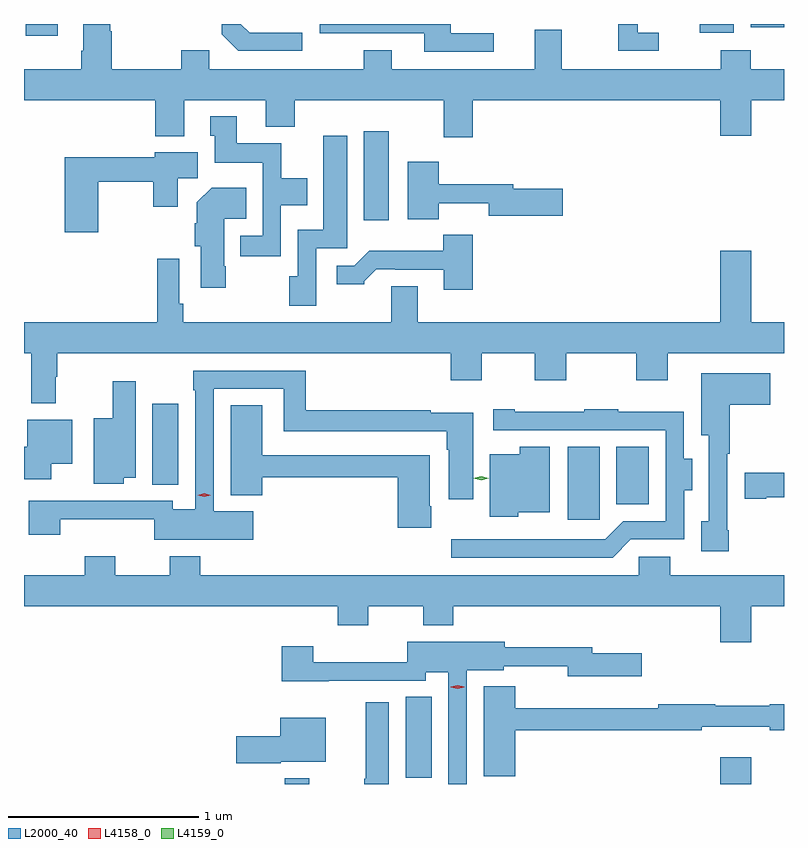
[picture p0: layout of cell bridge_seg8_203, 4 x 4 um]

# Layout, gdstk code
import gdstk
lib = gdstk.Library(unit=1e-6, precision=1e-09)
def R(c, l, rs):  # rectangles x0, y0, x1, y1
    for r in rs: c.add(gdstk.rectangle(r[:2], r[2:], *l))
def P(c, l, *ps):  # polygons
    for p in ps: c.add(gdstk.Polygon(p, *l))
L2000_40 = (2000, 40)
L4158_0 = (4158, 0)
L4159_0 = (4159, 0)

bridge_seg8_203 = lib.new_cell('bridge_seg8_203')
R(bridge_seg8_203, L2000_40, [(210.668,1100.913,210.796,1100.944), (212.96,1100.913,213.124,1101.055), (211.304,1100.946,211.441,1101.371), (212.159,1102.305,212.326,1102.687), (212.414,1102.385,212.584,1102.687), (209.972,1102.489,210.109,1102.915), (211.085,1103.88,211.216,1104.349), (209.306,1104.852,209.473,1104.913), (212.852,1104.866,213.031,1104.913), (213.12,1104.895,213.296,1104.913)])
P(bridge_seg8_203, L2000_40, [(210.76,1104.867),(210.483,1104.867),(210.437,1104.913),(210.336,1104.913),(210.336,1104.858),(210.423,1104.771),(210.76,1104.771)],
  [(211.658,1104.512),(212.96,1104.512),(212.96,1104.324),(213.124,1104.324),(213.124,1104.512),(213.296,1104.512),(213.296,1104.676),(213.122,1104.676),(213.122,1104.775),(212.962,1104.775),(212.962,1104.676),(212.125,1104.676),(212.125,1104.884),(211.985,1104.884),(211.985,1104.676),(211.231,1104.676),(211.231,1104.775),(211.084,1104.775),(211.084,1104.676),(210.27,1104.676),(210.27,1104.775),(210.124,1104.775),(210.124,1104.676),(209.757,1104.676),(209.757,1104.875),(209.749,1104.875),(209.749,1104.913),(209.609,1104.913),(209.609,1104.772),(209.597,1104.772),(209.597,1104.676),(209.296,1104.676),(209.296,1104.512),(209.987,1104.512),(209.987,1104.323),(210.139,1104.323),(210.139,1104.512),(210.569,1104.512),(210.569,1104.371),(210.722,1104.371),(210.722,1104.512),(211.505,1104.512),(211.505,1104.318),(211.658,1104.318)],
  [(211.768,1104.864),(211.543,1104.864),(211.543,1104.913),(210.852,1104.913),(210.852,1104.864),(211.403,1104.864),(211.403,1104.768),(211.768,1104.768)],
  [(212.638,1104.867),(212.527,1104.867),(212.527,1104.913),(212.423,1104.913),(212.423,1104.771),(212.638,1104.771)],
  [(210.648,1103.96),(210.787,1103.96),(210.787,1104.1),(210.651,1104.1),(210.651,1104.286),(210.415,1104.286),(210.415,1104.427),(210.275,1104.427),(210.275,1104.324),(210.299,1104.324),(210.299,1104.182),(210.552,1104.182),(210.552,1103.799),(210.435,1103.799),(210.435,1103.691),(210.648,1103.691)],
  [(210.834,1103.733),(210.997,1103.733),(210.997,1104.325),(210.872,1104.325),(210.872,1103.83),(210.738,1103.83),(210.738,1103.586),(210.691,1103.586),(210.691,1103.43),(210.834,1103.43)],
  [(209.688,1104.082),(209.977,1104.082),(209.977,1103.952),(210.106,1103.952),(210.106,1104.1),(210.211,1104.1),(210.211,1104.238),(209.984,1104.238),(209.984,1104.211),(209.51,1104.211),(209.51,1103.817),(209.688,1103.817)],
  [(211.478,1103.969),(211.742,1103.969),(211.742,1103.903),(212.131,1103.903),(212.131,1104.045),(211.87,1104.045),(211.87,1104.069),(211.48,1104.069),(211.48,1104.187),(211.316,1104.187),(211.316,1103.885),(211.478,1103.885)],
  [(210.357,1103.638),(210.349,1103.638),(210.349,1103.888),(210.467,1103.888),(210.467,1104.052),(210.284,1104.052),(210.206,1103.974),(210.206,1103.864),(210.194,1103.864),(210.194,1103.742),(210.227,1103.742),(210.227,1103.526),(210.357,1103.526)],
  [(211.658,1103.803),(211.503,1103.803),(211.503,1103.719),(211.114,1103.719),(211.035,1103.64),(210.942,1103.64),(210.942,1103.543),(211.086,1103.543),(211.086,1103.558),(211.15,1103.622),(211.249,1103.622),(211.249,1103.619),(211.505,1103.619),(211.505,1103.514),(211.658,1103.514)],
  [(209.464,1103.057),(209.471,1103.057),(209.471,1103.18),(211.541,1103.18),(211.541,1103.037),(211.705,1103.037),(211.705,1103.18),(211.985,1103.18),(211.985,1103.037),(212.149,1103.037),(212.149,1103.18),(212.519,1103.18),(212.519,1103.037),(212.683,1103.037),(212.683,1103.18),(213.296,1103.18),(213.296,1103.344),(213.124,1103.344),(213.124,1103.719),(212.96,1103.719),(212.96,1103.344),(211.369,1103.344),(211.369,1103.534),(211.229,1103.534),(211.229,1103.344),(210.134,1103.344),(210.134,1103.44),(210.114,1103.44),(210.114,1103.677),(209.998,1103.677),(209.998,1103.344),(209.296,1103.344),(209.296,1103.18),(209.335,1103.18),(209.335,1102.917),(209.464,1102.917)],
  [(210.502,1102.348),(210.294,1102.348),(210.294,1102.992),(210.663,1102.992),(210.663,1102.77),(211.52,1102.77),(211.52,1102.673),(211.532,1102.673),(211.532,1102.413),(211.66,1102.413),(211.66,1102.867),(211.436,1102.867),(211.436,1102.879),(210.779,1102.879),(210.779,1103.088),(210.186,1103.088),(210.186,1102.985),(210.198,1102.985),(210.198,1102.36),(210.078,1102.36),(210.078,1102.404),(209.321,1102.404),(209.321,1102.224),(209.486,1102.224),(209.486,1102.307),(209.982,1102.307),(209.982,1102.199),(210.502,1102.199)],
  [(213.005,1102.249),(212.997,1102.249),(212.997,1102.652),(213.01,1102.652),(213.01,1102.909),(213.223,1102.909),(213.223,1103.074),(212.861,1103.074),(212.861,1102.748),(212.901,1102.748),(212.901,1102.297),(212.861,1102.297),(212.861,1102.137),(213.005,1102.137)],
  [(209.821,1102.526),(209.884,1102.526),(209.884,1103.032),(209.762,1103.032),(209.762,1102.837),(209.663,1102.837),(209.663,1102.493),(209.821,1102.493)],
  [(211.44,1102.375),(211.432,1102.375),(211.432,1102.644),(210.55,1102.644),(210.55,1102.907),(210.383,1102.907),(210.383,1102.433),(210.55,1102.433),(210.55,1102.528),(211.262,1102.528),(211.262,1102.263),(211.44,1102.263)],
  [(212.49,1102.2),(212.77,1102.2),(212.77,1102.46),(212.812,1102.46),(212.812,1102.624),(212.769,1102.624),(212.769,1102.873),(212.423,1102.873),(212.423,1102.885),(212.245,1102.885),(212.245,1102.873),(211.879,1102.873),(211.879,1102.885),(211.767,1102.885),(211.767,1102.776),(212.673,1102.776),(212.673,1102.296),(212.451,1102.296),(212.355,1102.2),(211.545,1102.2),(211.545,1102.104),(212.394,1102.104)],
  [(209.44,1102.598),(209.551,1102.598),(209.551,1102.831),(209.312,1102.831),(209.312,1102.688),(209.296,1102.688),(209.296,1102.517),(209.44,1102.517)],
  [(211.896,1102.343),(212.062,1102.343),(212.062,1102.687),(211.904,1102.687),(211.904,1102.648),(211.748,1102.648),(211.748,1102.319),(211.896,1102.319)],
  [(213.202,1102.421),(213.296,1102.421),(213.296,1102.551),(213.09,1102.551),(213.09,1102.414),(213.202,1102.414)],
  [(209.615,1102.111),(209.615,1102.012),(209.296,1102.012),(209.296,1101.848),(210.947,1101.848),(210.947,1101.749),(211.107,1101.749),(211.107,1101.848),(211.396,1101.848),(211.396,1101.749),(211.556,1101.749),(211.556,1101.848),(212.96,1101.848),(212.96,1101.66),(213.124,1101.66),(213.124,1101.848),(213.296,1101.848),(213.296,1102.012),(212.696,1102.012),(212.696,1102.11),(212.532,1102.11),(212.532,1102.012),(210.224,1102.012),(210.224,1102.111),(210.064,1102.111),(210.064,1102.012),(209.775,1102.012),(209.775,1102.111)],
  [(211.626,1101.512),(211.821,1101.512),(211.821,1101.532),(212.159,1101.532),(212.159,1101.479),(212.548,1101.479),(212.548,1101.601),(212.287,1101.601),(212.287,1101.632),(211.825,1101.632),(211.825,1101.661),(211.314,1101.661),(211.314,1101.554),(210.818,1101.554),(210.818,1101.637),(210.653,1101.637),(210.653,1101.455),(210.901,1101.455),(210.901,1101.456),(211.41,1101.456),(211.41,1101.5),(211.53,1101.5),(211.53,1100.913),(211.626,1100.913)],
  [(211.882,1101.196),(212.864,1101.196),(212.864,1101.215),(213.22,1101.215),(213.22,1101.196),(213.296,1101.196),(213.296,1101.332),(213.222,1101.332),(213.222,1101.325),(212.935,1101.325),(212.935,1101.332),(212.635,1101.332),(212.635,1101.313),(211.882,1101.313),(211.882,1101.427),(211.715,1101.427),(211.715,1100.953),(211.882,1100.953)],
  [(211.216,1101.343),(211.094,1101.343),(211.094,1100.941),(211.087,1100.941),(211.087,1100.913),(211.216,1100.913)],
  [(210.648,1101.029),(210.883,1101.029),(210.883,1101.262),(210.644,1101.262),(210.644,1101.164),(210.414,1101.164),(210.414,1101.022),(210.648,1101.022)])
P(bridge_seg8_203, L4158_0, [(211.578,1101.414),(211.543,1101.423),(211.543,1101.424),(211.543,1101.424),(211.578,1101.434),(211.612,1101.424),(211.612,1101.424),(211.612,1101.423)],
  [(210.245,1102.424),(210.211,1102.434),(210.21,1102.434),(210.211,1102.434),(210.245,1102.444),(210.28,1102.434),(210.28,1102.434),(210.28,1102.434)])
P(bridge_seg8_203, L4159_0, [(211.702,1102.513),(211.661,1102.522),(211.66,1102.523),(211.661,1102.523),(211.702,1102.533),(211.743,1102.523),(211.743,1102.523),(211.743,1102.522)])

lib.write_gds('bridge_seg8_203.gds')
